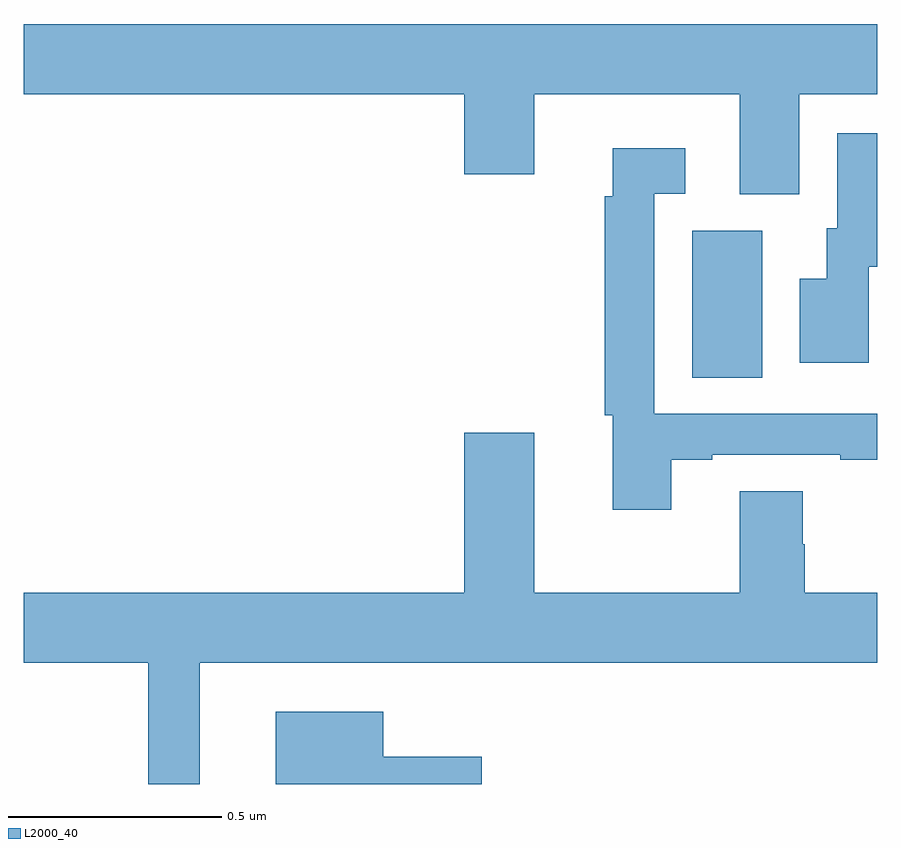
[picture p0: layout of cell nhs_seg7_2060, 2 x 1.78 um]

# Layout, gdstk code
import gdstk
lib = gdstk.Library(unit=1e-6, precision=1e-09)
def R(c, l, rs):  # rectangles x0, y0, x1, y1
    for r in rs: c.add(gdstk.rectangle(r[:2], r[2:], *l))
def P(c, l, *ps):  # polygons
    for p in ps: c.add(gdstk.Polygon(p, *l))
L2000_40 = (2000, 40)

nhs_seg7_2060 = lib.new_cell('nhs_seg7_2060')
R(nhs_seg7_2060, L2000_40, [(141.566,999.952,141.73,1000.296)])
P(nhs_seg7_2060, L2000_40, [(141.817,1000.616),(142,1000.616),(142,1000.78),(140,1000.78),(140,1000.616),(141.032,1000.616),(141.032,1000.428),(141.196,1000.428),(141.196,1000.616),(141.677,1000.616),(141.677,1000.381),(141.817,1000.381)],
  [(141.979,1000.212),(142,1000.212),(142,1000.524),(141.906,1000.524),(141.906,1000.302),(141.881,1000.302),(141.881,1000.183),(141.818,1000.183),(141.818,999.987),(141.979,999.987)],
  [(141.517,999.759),(141.613,999.759),(141.613,999.771),(141.913,999.771),(141.913,999.759),(142,999.759),(142,999.867),(141.477,999.867),(141.477,1000.383),(141.55,1000.383),(141.55,1000.489),(141.38,1000.489),(141.38,1000.376),(141.361,1000.376),(141.361,999.864),(141.38,999.864),(141.38,999.642),(141.517,999.642)],
  [(140.413,999.284),(142,999.284),(142,999.448),(141.83,999.448),(141.83,999.561),(141.825,999.561),(141.825,999.686),(141.677,999.686),(141.677,999.448),(141.196,999.448),(141.196,999.823),(141.032,999.823),(141.032,999.448),(140,999.448),(140,999.284),(140.292,999.284),(140.292,999),(140.413,999)],
  [(141.073,999.064),(140.842,999.064),(140.842,999.169),(140.591,999.169),(140.591,999),(141.073,999)])

lib.write_gds('nhs_seg7_2060.gds')
